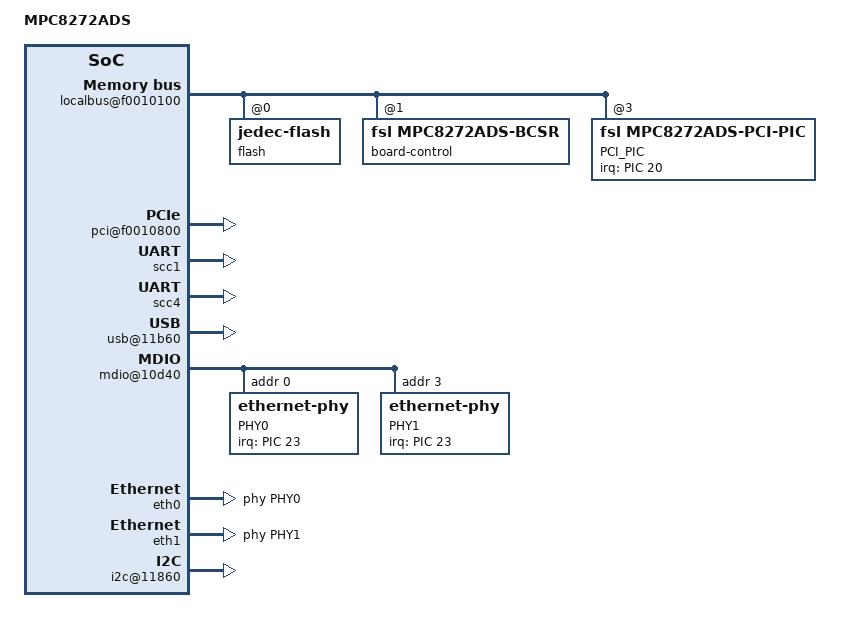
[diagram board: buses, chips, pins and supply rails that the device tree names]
// SPDX-License-Identifier: GPL-2.0-or-later
/*
 * MPC8272 ADS Device Tree Source
 *
 * Copyright 2005,2008 Freescale Semiconductor Inc.
 */

/dts-v1/;

/ {
	model = "MPC8272ADS";
	compatible = "fsl,mpc8272ads";
	#address-cells = <1>;
	#size-cells = <1>;

	aliases {
		ethernet0 = &eth0;
		ethernet1 = &eth1;
		serial0 = &scc1;
		serial1 = &scc4;
	};

	cpus {
		#address-cells = <1>;
		#size-cells = <0>;

		PowerPC,8272@0 {
			device_type = "cpu";
			reg = <0x0>;
			d-cache-line-size = <32>;
			i-cache-line-size = <32>;
			d-cache-size = <16384>;
			i-cache-size = <16384>;
			timebase-frequency = <0>;
			bus-frequency = <0>;
			clock-frequency = <0>;
		};
	};

	memory {
		device_type = "memory";
		reg = <0x0 0x0>;
	};

	localbus@f0010100 {
		compatible = "fsl,mpc8272-localbus",
		             "fsl,pq2-localbus";
		#address-cells = <2>;
		#size-cells = <1>;
		reg = <0xf0010100 0x40>;

		ranges = <0x0 0x0 0xff800000 0x00800000
		          0x1 0x0 0xf4500000 0x8000
		          0x3 0x0 0xf8200000 0x8000>;

		flash@0,0 {
			compatible = "jedec-flash";
			reg = <0x0 0x0 0x00800000>;
			bank-width = <4>;
			device-width = <1>;
		};

		board-control@1,0 {
			reg = <0x1 0x0 0x20>;
			compatible = "fsl,mpc8272ads-bcsr";
		};

		PCI_PIC: interrupt-controller@3,0 {
			compatible = "fsl,mpc8272ads-pci-pic",
			             "fsl,pq2ads-pci-pic";
			#interrupt-cells = <1>;
			interrupt-controller;
			reg = <0x3 0x0 0x8>;
			interrupt-parent = <&PIC>;
			interrupts = <20 8>;
		};
	};


	pci@f0010800 {
		device_type = "pci";
		reg = <0xf0010800 0x10c 0xf00101ac 0x8 0xf00101c4 0x8>;
		compatible = "fsl,mpc8272-pci", "fsl,pq2-pci";
		#interrupt-cells = <1>;
		#size-cells = <2>;
		#address-cells = <3>;
		clock-frequency = <66666666>;
		interrupt-map-mask = <0xf800 0x0 0x0 0x7>;
		interrupt-map = <
		                 /* IDSEL 0x16 */
		                 0xb000 0x0 0x0 0x1 &PCI_PIC 0
		                 0xb000 0x0 0x0 0x2 &PCI_PIC 1
		                 0xb000 0x0 0x0 0x3 &PCI_PIC 2
		                 0xb000 0x0 0x0 0x4 &PCI_PIC 3

		                 /* IDSEL 0x17 */
		                 0xb800 0x0 0x0 0x1 &PCI_PIC 4
		                 0xb800 0x0 0x0 0x2 &PCI_PIC 5
		                 0xb800 0x0 0x0 0x3 &PCI_PIC 6
		                 0xb800 0x0 0x0 0x4 &PCI_PIC 7

		                 /* IDSEL 0x18 */
		                 0xc000 0x0 0x0 0x1 &PCI_PIC 8
		                 0xc000 0x0 0x0 0x2 &PCI_PIC 9
		                 0xc000 0x0 0x0 0x3 &PCI_PIC 10
		                 0xc000 0x0 0x0 0x4 &PCI_PIC 11>;

		interrupt-parent = <&PIC>;
		interrupts = <18 8>;
		ranges = <0x42000000 0x0 0x80000000 0x80000000 0x0 0x20000000
		          0x2000000 0x0 0xa0000000 0xa0000000 0x0 0x20000000
		          0x1000000 0x0 0x0 0xf6000000 0x0 0x2000000>;
	};

	soc@f0000000 {
		#address-cells = <1>;
		#size-cells = <1>;
		device_type = "soc";
		compatible = "fsl,mpc8272", "fsl,pq2-soc";
		ranges = <0x0 0xf0000000 0x53000>;

		// Temporary -- will go away once kernel uses ranges for get_immrbase().
		reg = <0xf0000000 0x53000>;

		cpm@119c0 {
			#address-cells = <1>;
			#size-cells = <1>;
			compatible = "fsl,mpc8272-cpm", "fsl,cpm2";
			reg = <0x119c0 0x30>;
			ranges;

			muram@0 {
				#address-cells = <1>;
				#size-cells = <1>;
				ranges = <0x0 0x0 0x10000>;

				data@0 {
					compatible = "fsl,cpm-muram-data";
					reg = <0x0 0x2000 0x9800 0x800>;
				};
			};

			brg@119f0 {
				compatible = "fsl,mpc8272-brg",
				             "fsl,cpm2-brg",
				             "fsl,cpm-brg";
				reg = <0x119f0 0x10 0x115f0 0x10>;
			};

			scc1: serial@11a00 {
				device_type = "serial";
				compatible = "fsl,mpc8272-scc-uart",
				             "fsl,cpm2-scc-uart";
				reg = <0x11a00 0x20 0x8000 0x100>;
				interrupts = <40 8>;
				interrupt-parent = <&PIC>;
				fsl,cpm-brg = <1>;
				fsl,cpm-command = <0x800000>;
			};

			scc4: serial@11a60 {
				device_type = "serial";
				compatible = "fsl,mpc8272-scc-uart",
				             "fsl,cpm2-scc-uart";
				reg = <0x11a60 0x20 0x8300 0x100>;
				interrupts = <43 8>;
				interrupt-parent = <&PIC>;
				fsl,cpm-brg = <4>;
				fsl,cpm-command = <0xce00000>;
			};

			usb@11b60 {
				compatible = "fsl,mpc8272-cpm-usb";
				reg = <0x11b60 0x40 0x8b00 0x100>;
				interrupts = <11 8>;
				interrupt-parent = <&PIC>;
				mode = "peripheral";
			};

			mdio@10d40 {
				compatible = "fsl,mpc8272ads-mdio-bitbang",
				             "fsl,mpc8272-mdio-bitbang",
				             "fsl,cpm2-mdio-bitbang";
				reg = <0x10d40 0x14>;
				#address-cells = <1>;
				#size-cells = <0>;
				fsl,mdio-pin = <18>;
				fsl,mdc-pin = <19>;

				PHY0: ethernet-phy@0 {
					interrupt-parent = <&PIC>;
					interrupts = <23 8>;
					reg = <0x0>;
				};

				PHY1: ethernet-phy@1 {
					interrupt-parent = <&PIC>;
					interrupts = <23 8>;
					reg = <0x3>;
				};
			};

			eth0: ethernet@11300 {
				device_type = "network";
				compatible = "fsl,mpc8272-fcc-enet",
				             "fsl,cpm2-fcc-enet";
				reg = <0x11300 0x20 0x8400 0x100 0x11390 0x1>;
				local-mac-address = [ 00 00 00 00 00 00 ];
				interrupts = <32 8>;
				interrupt-parent = <&PIC>;
				phy-handle = <&PHY0>;
				linux,network-index = <0>;
				fsl,cpm-command = <0x12000300>;
			};

			eth1: ethernet@11320 {
				device_type = "network";
				compatible = "fsl,mpc8272-fcc-enet",
				             "fsl,cpm2-fcc-enet";
				reg = <0x11320 0x20 0x8500 0x100 0x113b0 0x1>;
				local-mac-address = [ 00 00 00 00 00 00 ];
				interrupts = <33 8>;
				interrupt-parent = <&PIC>;
				phy-handle = <&PHY1>;
				linux,network-index = <1>;
				fsl,cpm-command = <0x16200300>;
			};

			i2c@11860 {
				compatible = "fsl,mpc8272-i2c",
					     "fsl,cpm2-i2c";
				reg = <0x11860 0x20 0x8afc 0x2>;
				interrupts = <1 8>;
				interrupt-parent = <&PIC>;
				fsl,cpm-command = <0x29600000>;
				#address-cells = <1>;
				#size-cells = <0>;
			};
		};

		PIC: interrupt-controller@10c00 {
			#interrupt-cells = <2>;
			interrupt-controller;
			reg = <0x10c00 0x80>;
			compatible = "fsl,mpc8272-pic", "fsl,cpm2-pic";
		};

		crypto@30000 {
			compatible = "fsl,sec1.0";
			reg = <0x40000 0x13000>;
			interrupts = <47 0x8>;
			interrupt-parent = <&PIC>;
			fsl,num-channels = <4>;
			fsl,channel-fifo-len = <24>;
			fsl,exec-units-mask = <0x7e>;
			fsl,descriptor-types-mask = <0x1010415>;
		};
	};

	chosen {
		stdout-path = "/soc/cpm/serial@11a00";
	};
};
